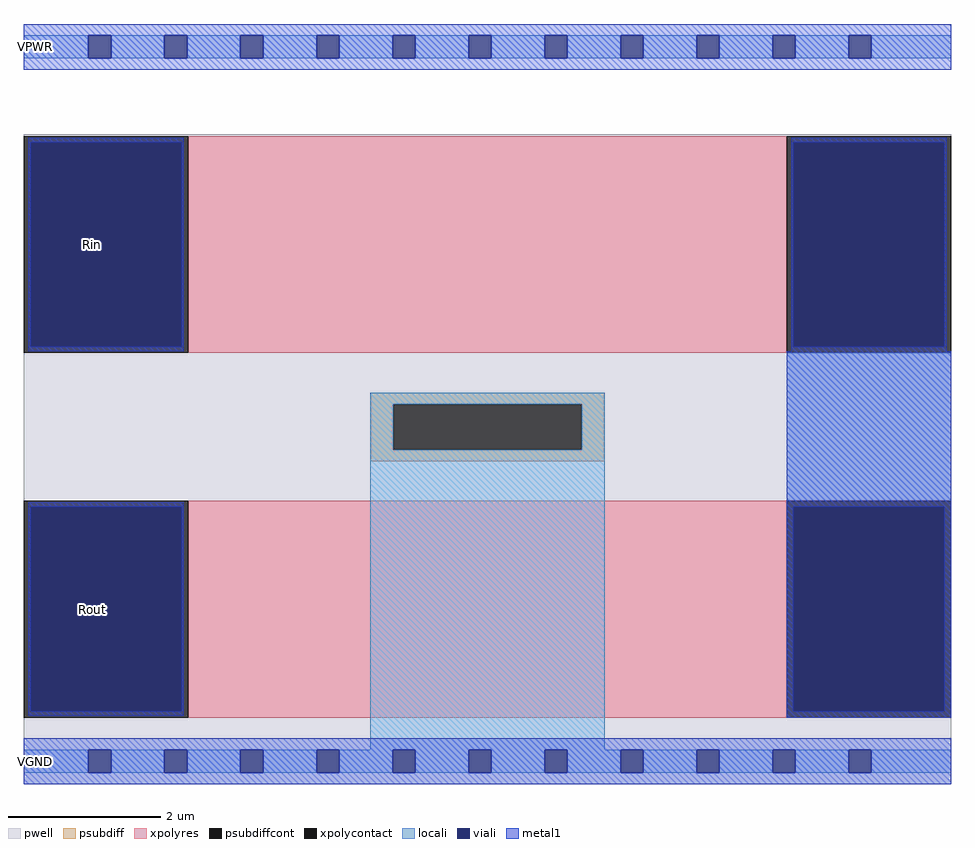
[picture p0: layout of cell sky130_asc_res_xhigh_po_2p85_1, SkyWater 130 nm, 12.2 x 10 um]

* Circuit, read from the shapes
.subckt sky130_asc_res_xhigh_po_2p85_1 Rin Rout VPWR VGND
XR1 n1 Rout VGND sky130_fd_pr__res_xhigh_po w=2.85 l=7.88
XR2 n1 Rin VGND sky130_fd_pr__res_xhigh_po w=2.85 l=7.88
.ends

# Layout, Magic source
magic
tech sky130A
magscale 1 2
<< pwell >>
rect 140 -60 2580 1650
<< psubdiff >>
rect 1052 940 1668 970
rect 1052 820 1112 940
rect 1608 820 1668 940
rect 1052 790 1668 820
<< psubdiffcont >>
rect 1112 820 1608 940
<< xpolycontact >>
rect 140 1075 572 1645
rect 2148 1075 2580 1645
rect 140 115 572 685
rect 2148 115 2580 685
<< xpolyres >>
rect 572 1075 2148 1645
rect 572 115 2148 685
<< locali >>
rect 140 1850 310 1910
rect 370 1850 510 1910
rect 570 1850 710 1910
rect 770 1850 910 1910
rect 970 1850 1110 1910
rect 1170 1850 1310 1910
rect 1370 1850 1510 1910
rect 1570 1850 1710 1910
rect 1770 1850 1910 1910
rect 1970 1850 2110 1910
rect 2170 1850 2310 1910
rect 2370 1850 2580 1910
rect 1052 940 1668 970
rect 1052 820 1112 940
rect 1608 820 1668 940
rect 1052 30 1668 820
rect 2148 685 2580 1075
rect 140 -30 310 30
rect 370 -30 510 30
rect 570 -30 710 30
rect 770 -30 910 30
rect 970 -30 1110 30
rect 1170 -30 1310 30
rect 1370 -30 1510 30
rect 1570 -30 1710 30
rect 1770 -30 1910 30
rect 1970 -30 2110 30
rect 2170 -30 2310 30
rect 2370 -30 2580 30
<< viali >>
rect 310 1850 370 1910
rect 510 1850 570 1910
rect 710 1850 770 1910
rect 910 1850 970 1910
rect 1110 1850 1170 1910
rect 1310 1850 1370 1910
rect 1510 1850 1570 1910
rect 1710 1850 1770 1910
rect 1910 1850 1970 1910
rect 2110 1850 2170 1910
rect 2310 1850 2370 1910
rect 158 1091 555 1629
rect 2165 1091 2562 1629
rect 158 131 555 669
rect 2165 131 2562 669
rect 310 -30 370 30
rect 510 -30 570 30
rect 710 -30 770 30
rect 910 -30 970 30
rect 1110 -30 1170 30
rect 1310 -30 1370 30
rect 1510 -30 1570 30
rect 1710 -30 1770 30
rect 1910 -30 1970 30
rect 2110 -30 2170 30
rect 2310 -30 2370 30
<< metal1 >>
rect 140 1910 2580 1940
rect 140 1850 310 1910
rect 370 1850 510 1910
rect 570 1850 710 1910
rect 770 1850 910 1910
rect 970 1850 1110 1910
rect 1170 1850 1310 1910
rect 1370 1850 1510 1910
rect 1570 1850 1710 1910
rect 1770 1850 1910 1910
rect 1970 1850 2110 1910
rect 2170 1850 2310 1910
rect 2370 1850 2580 1910
rect 140 1820 2580 1850
rect 151 1629 561 1641
rect 151 1091 158 1629
rect 555 1091 561 1629
rect 151 1079 561 1091
rect 2159 1629 2569 1641
rect 2159 1091 2165 1629
rect 2562 1091 2569 1629
rect 2159 1079 2569 1091
rect 151 669 561 681
rect 151 131 158 669
rect 555 131 561 669
rect 151 119 561 131
rect 2148 669 2580 1079
rect 2148 131 2165 669
rect 2562 131 2580 669
rect 2148 115 2580 131
rect 140 30 2580 60
rect 140 -30 310 30
rect 370 -30 510 30
rect 570 -30 710 30
rect 770 -30 910 30
rect 970 -30 1110 30
rect 1170 -30 1310 30
rect 1370 -30 1510 30
rect 1570 -30 1710 30
rect 1770 -30 1910 30
rect 1970 -30 2110 30
rect 2170 -30 2310 30
rect 2370 -30 2580 30
rect 140 -60 2580 -30
<< labels >>
flabel metal1 260 1300 380 1420 1 FreeSans 480 0 0 0 Rin
port 1 n default bidirectional
flabel metal1 260 340 380 460 1 FreeSans 480 0 0 0 Rout
port 2 n default bidirectional
flabel metal1 140 1850 200 1910 1 FreeSans 800 0 0 0 VPWR
port 3 n power bidirectional
flabel metal1 140 -30 200 30 1 FreeSans 800 0 0 0 VGND
port 4 n ground bidirectional
<< properties >>
string FIXED_BBOX 0 0 2720 1880
string LEFclass CORE
string LEFsite unitasc
<< end >>
